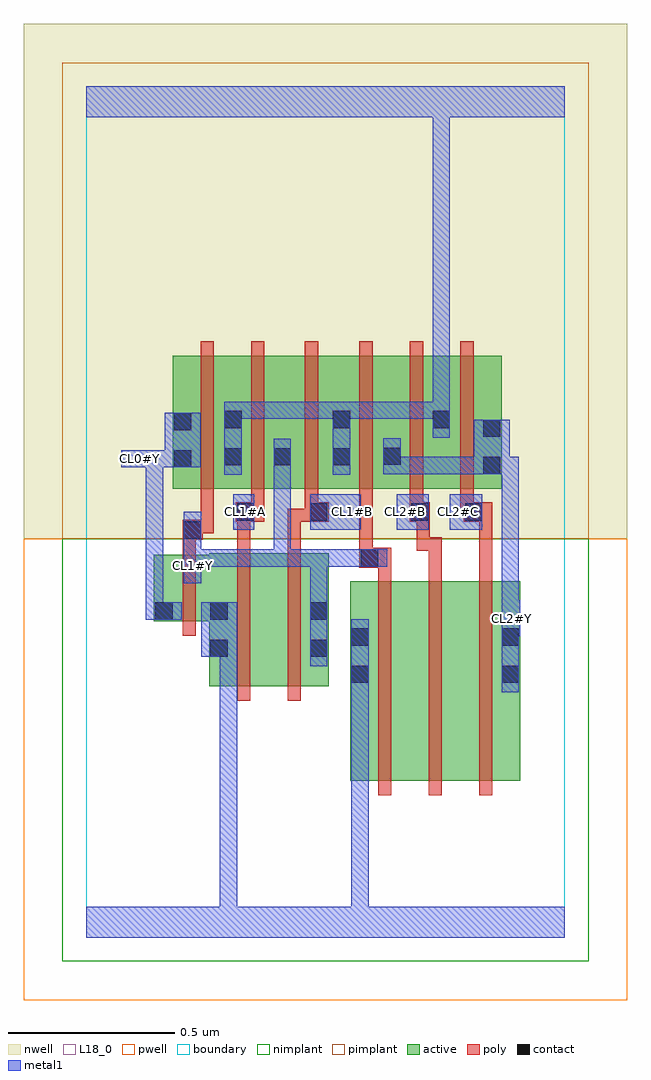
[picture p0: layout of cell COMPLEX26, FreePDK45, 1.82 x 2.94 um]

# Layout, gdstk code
import gdstk
lib = gdstk.Library(unit=1e-6, precision=1e-09)
def R(c, l, rs):  # rectangles x0, y0, x1, y1
    for r in rs: c.add(gdstk.rectangle(r[:2], r[2:], *l))
def A(c, l, x, y, w, h, nx, ny, dx, dy):  # array of equal rectangles
    R(c, l, [(x+i*dx, y+j*dy, x+i*dx+w, y+j*dy+h) for i in range(nx) for j in range(ny)])
active = (1, 0)
pwell = (2, 0)
nwell = (3, 0)
nimplant = (4, 0)
pimplant = (5, 0)
poly = (9, 0)
contact = (10, 0)
metal1 = (11, 0)
L18_0 = (18, 0)
boundary = (235, 0)

complex26 = lib.new_cell('COMPLEX26')
R(complex26, active, [(0.794,0.472,0.974,1.072), (0.974,0.472,1.126,1.072), (1.126,0.472,1.306,1.072), (0.794,0.556,0.854,1.072), (1.246,0.556,1.306,1.072), (0.37,0.756,0.55,1.156), (0.37,0.756,0.43,1.152), (0.55,0.756,0.73,1.156), (0.67,0.756,0.73,1.156), (0.204,0.952,0.43,1.152), (0.204,0.952,0.264,1.152), (0.26,1.35,0.32,1.644), (0.26,1.35,0.472,1.75), (0.412,1.35,0.472,1.644), (0.412,1.35,0.62,1.75), (0.56,1.35,0.62,1.644), (0.56,1.35,0.798,1.75), (0.738,1.35,0.95,1.75), (0.89,1.35,0.95,1.644), (0.89,1.35,1.098,1.75), (1.038,1.35,1.098,1.75), (1.038,1.35,1.25,1.75), (1.19,1.35,1.25,1.644), (0.738,1.416,0.798,1.644)])
R(complex26, pwell, [(-0.188,-0.188,1.628,1.2)])
R(complex26, nwell, [(-0.188,1.2,1.628,2.748)])
R(complex26, nimplant, [(-0.072,-0.072,1.512,1.2)])
R(complex26, pimplant, [(-0.072,1.2,1.512,2.632)])
A(complex26, poly, 0.878, 0.428, 0.04, 0.688, 3, 1, 0.152, 0)
A(complex26, poly, 0.822, 1.306, 0.04, 0.488, 3, 1, 0.152, 0)
R(complex26, poly, [(0.454,0.712,0.494,1.2), (0.606,0.712,0.646,1.2), (0.29,0.908,0.33,1.196), (0.878,1.076,0.918,1.152), (1.03,1.076,1.07,1.204), (1.182,1.076,1.222,1.29), (0.822,1.112,0.918,1.172), (0.822,1.132,0.862,1.172), (0.822,1.132,0.862,1.172), (0.822,1.132,0.862,1.346), (0.29,1.156,0.33,1.236), (0.454,1.16,0.494,1.29), (0.606,1.16,0.646,1.29), (0.994,1.164,1.034,1.29), (0.994,1.164,1.07,1.204), (0.29,1.196,0.35,1.256), (0.31,1.216,0.35,1.256), (0.31,1.216,0.384,1.256), (0.344,1.216,0.384,1.346), (0.45,1.25,0.536,1.31), (0.454,1.25,0.494,1.29), (0.454,1.25,0.494,1.29), (0.606,1.25,0.698,1.29), (0.658,1.25,0.698,1.29), (0.658,1.25,0.73,1.31), (0.974,1.25,1.034,1.31), (1.136,1.25,1.222,1.31), (0.496,1.27,0.536,1.346), (0.658,1.27,0.698,1.346), (0.974,1.27,1.014,1.346), (1.126,1.27,1.166,1.346), (1.126,1.27,1.176,1.31), (1.136,1.27,1.176,1.31), (0.344,1.306,0.384,1.794), (0.496,1.306,0.536,1.794), (0.658,1.306,0.698,1.794)])
R(complex26, contact, [(0.798,0.766,0.85,0.818), (1.25,0.766,1.302,0.818), (0.374,0.844,0.426,0.896), (0.674,0.844,0.726,0.896), (0.798,0.878,0.85,0.93), (1.25,0.878,1.302,0.93), (0.208,0.956,0.26,1.008), (0.374,0.956,0.426,1.008), (0.674,0.956,0.726,1.008), (0.826,1.116,0.878,1.168), (0.294,1.2,0.346,1.252), (0.454,1.254,0.506,1.306), (0.674,1.254,0.726,1.306), (0.978,1.254,1.03,1.306), (1.14,1.254,1.192,1.306), (1.194,1.394,1.246,1.446), (0.264,1.414,0.316,1.466), (0.416,1.42,0.468,1.472), (0.564,1.42,0.616,1.472), (0.742,1.42,0.794,1.472), (0.894,1.422,0.946,1.474), (1.194,1.506,1.246,1.558), (0.264,1.526,0.316,1.578), (0.416,1.532,0.468,1.584), (0.742,1.532,0.794,1.584), (1.042,1.532,1.094,1.584)])
A(complex26, metal1, 0.564, 1.56, 0.052, 0.052, 3, 1, 0.11, 0)
R(complex26, metal1, [(0,0,1.44,0.092), (0.402,0.04,0.454,0.092), (0.402,0.04,0.454,0.092), (0.402,0.04,0.454,0.092), (0.402,0.04,0.454,0.092), (0.402,0.04,0.454,0.092), (0.402,0.04,0.454,0.092), (0.402,0.04,0.454,0.092), (0.402,0.04,0.454,0.092), (0.402,0.04,0.454,0.896), (0.798,0.04,0.85,0.79), (0.798,0.738,0.85,0.79), (0.798,0.738,0.85,0.79), (0.798,0.738,0.85,0.79), (0.798,0.738,0.85,0.79), (0.798,0.738,0.85,0.79), (0.798,0.738,0.85,0.79), (0.798,0.738,0.85,0.79), (0.798,0.738,0.85,0.79), (0.798,0.738,0.85,0.958), (1.25,0.738,1.302,0.958), (0.674,0.816,0.726,1.036), (0.346,0.844,0.454,1.008), (0.402,0.844,0.454,0.896), (0.402,0.844,0.454,0.896), (0.402,0.844,0.454,0.896), (0.402,0.844,0.454,0.896), (1.25,0.906,1.302,0.958), (1.25,0.906,1.306,1.014), (0.18,0.956,0.288,1.008), (0.18,0.956,0.232,1.466), (1.25,0.962,1.302,1.446), (0.674,0.984,0.726,1.168), (0.294,1.066,0.346,1.224), (0.294,1.116,0.506,1.168), (0.454,1.116,0.506,1.168), (0.454,1.116,0.616,1.168), (0.564,1.116,0.616,1.168), (0.564,1.116,0.616,1.168), (0.564,1.116,0.616,1.168), (0.564,1.116,0.616,1.168), (0.564,1.116,0.616,1.168), (0.564,1.116,0.726,1.168), (0.564,1.116,0.616,1.444), (0.674,1.116,0.726,1.168), (0.674,1.116,0.726,1.168), (0.674,1.116,0.726,1.168), (0.674,1.116,0.85,1.168), (0.798,1.116,0.906,1.168), (0.294,1.172,0.346,1.224), (0.294,1.172,0.346,1.28), (0.442,1.226,0.506,1.334), (0.674,1.226,0.826,1.334), (0.934,1.226,1.03,1.334), (1.094,1.226,1.192,1.334), (0.416,1.392,0.468,1.612), (0.564,1.392,0.616,1.5), (0.742,1.392,0.794,1.612), (0.894,1.394,0.946,1.446), (0.894,1.394,0.946,1.446), (0.894,1.394,0.946,1.502), (0.894,1.394,1.108,1.446), (1.056,1.394,1.108,1.446), (1.056,1.394,1.218,1.446), (1.166,1.394,1.218,1.446), (1.166,1.394,1.218,1.446), (1.166,1.394,1.274,1.558), (1.222,1.394,1.274,1.446), (1.222,1.394,1.302,1.446), (0.106,1.414,0.236,1.466), (0.184,1.414,0.236,1.466), (0.184,1.414,0.288,1.466), (0.236,1.414,0.288,1.466), (0.236,1.414,0.344,1.578), (1.042,1.504,1.094,1.612), (0.416,1.56,0.468,1.612), (0.416,1.56,0.468,1.612), (0.416,1.56,0.616,1.612), (0.564,1.56,0.616,1.612), (0.564,1.56,0.616,1.612), (0.564,1.56,0.726,1.612), (0.674,1.56,0.794,1.612), (0.742,1.56,0.836,1.612), (0.784,1.56,0.984,1.612), (0.932,1.56,0.984,1.612), (0.932,1.56,0.984,1.612), (0.932,1.56,0.984,1.612), (0.932,1.56,1.094,1.612), (1.042,1.56,1.094,2.52), (0,2.468,1.44,2.56), (1.042,2.468,1.094,2.52), (1.042,2.468,1.094,2.52), (1.042,2.468,1.094,2.52), (1.042,2.468,1.094,2.52), (1.042,2.468,1.094,2.52), (1.042,2.468,1.094,2.52), (1.042,2.468,1.094,2.52), (1.042,2.468,1.094,2.52), (1.042,2.468,1.094,2.52), (1.042,2.468,1.094,2.52), (1.042,2.468,1.094,2.52), (1.042,2.468,1.094,2.52), (1.042,2.468,1.094,2.52), (1.042,2.468,1.094,2.52), (1.042,2.468,1.094,2.52), (1.042,2.468,1.094,2.52)])
A(complex26, L18_0, 0.774, 1.254, 0.052, 0.052, 3, 1, 0.16, 0)
A(complex26, L18_0, 0.564, 1.56, 0.052, 0.052, 3, 1, 0.11, 0)
R(complex26, L18_0, [(0,0,1.44,0.092), (0.402,0.04,0.454,0.092), (0.402,0.04,0.454,0.092), (0.402,0.04,0.454,0.092), (0.402,0.04,0.454,0.092), (0.402,0.04,0.454,0.092), (0.402,0.04,0.454,0.092), (0.402,0.04,0.454,0.092), (0.402,0.04,0.454,0.092), (0.402,0.04,0.454,0.896), (0.798,0.04,0.85,0.79), (0.798,0.738,0.85,0.79), (0.798,0.738,0.85,0.79), (0.798,0.738,0.85,0.79), (0.798,0.738,0.85,0.79), (0.798,0.738,0.85,0.79), (0.798,0.738,0.85,0.79), (0.798,0.738,0.85,0.79), (0.798,0.738,0.85,0.79), (0.798,0.738,0.85,0.958), (1.25,0.738,1.302,0.958), (0.674,0.816,0.726,1.036), (0.346,0.844,0.454,1.008), (0.402,0.844,0.454,0.896), (0.402,0.844,0.454,0.896), (0.402,0.844,0.454,0.896), (0.402,0.844,0.454,0.896), (1.25,0.906,1.302,0.958), (1.25,0.906,1.306,1.014), (1.254,0.934,1.306,0.986), (0.18,0.956,0.288,1.008), (0.18,0.956,0.232,1.466), (1.25,0.962,1.302,1.446), (0.674,0.984,0.726,1.168), (0.294,1.066,0.346,1.224), (0.294,1.094,0.346,1.146), (0.294,1.116,0.506,1.168), (0.454,1.116,0.506,1.168), (0.454,1.116,0.616,1.168), (0.564,1.116,0.616,1.168), (0.564,1.116,0.616,1.168), (0.564,1.116,0.616,1.168), (0.564,1.116,0.616,1.168), (0.564,1.116,0.616,1.168), (0.564,1.116,0.726,1.168), (0.564,1.116,0.616,1.444), (0.674,1.116,0.726,1.168), (0.674,1.116,0.726,1.168), (0.674,1.116,0.726,1.168), (0.674,1.116,0.85,1.168), (0.798,1.116,0.906,1.168), (0.294,1.172,0.346,1.224), (0.294,1.172,0.346,1.28), (0.442,1.226,0.506,1.334), (0.674,1.226,0.826,1.334), (0.934,1.226,1.03,1.334), (1.094,1.226,1.192,1.334), (0.454,1.254,0.506,1.306), (0.416,1.392,0.468,1.612), (0.564,1.392,0.616,1.5), (0.742,1.392,0.794,1.612), (0.894,1.394,0.946,1.446), (0.894,1.394,0.946,1.446), (0.894,1.394,0.946,1.502), (0.894,1.394,1.108,1.446), (1.056,1.394,1.108,1.446), (1.056,1.394,1.218,1.446), (1.166,1.394,1.218,1.446), (1.166,1.394,1.218,1.446), (1.166,1.394,1.274,1.558), (1.222,1.394,1.274,1.446), (1.222,1.394,1.302,1.446), (0.106,1.414,0.236,1.466), (0.134,1.414,0.186,1.466), (0.184,1.414,0.288,1.466), (0.184,1.414,0.236,1.466), (0.236,1.414,0.288,1.466), (0.236,1.414,0.344,1.578), (1.042,1.504,1.094,1.612), (0.416,1.56,0.468,1.612), (0.416,1.56,0.468,1.612), (0.416,1.56,0.616,1.612), (0.564,1.56,0.616,1.612), (0.564,1.56,0.616,1.612), (0.564,1.56,0.726,1.612), (0.674,1.56,0.794,1.612), (0.742,1.56,0.836,1.612), (0.784,1.56,0.984,1.612), (0.932,1.56,0.984,1.612), (0.932,1.56,0.984,1.612), (0.932,1.56,0.984,1.612), (0.932,1.56,1.094,1.612), (1.042,1.56,1.094,2.52), (0,2.468,1.44,2.56), (1.042,2.468,1.094,2.52), (1.042,2.468,1.094,2.52), (1.042,2.468,1.094,2.52), (1.042,2.468,1.094,2.52), (1.042,2.468,1.094,2.52), (1.042,2.468,1.094,2.52), (1.042,2.468,1.094,2.52), (1.042,2.468,1.094,2.52), (1.042,2.468,1.094,2.52), (1.042,2.468,1.094,2.52), (1.042,2.468,1.094,2.52), (1.042,2.468,1.094,2.52), (1.042,2.468,1.094,2.52), (1.042,2.468,1.094,2.52), (1.042,2.468,1.094,2.52), (1.042,2.468,1.094,2.52)])
R(complex26, boundary, [(0,0,1.44,2.56)])
complex26.add(gdstk.Label('CL0#Y', (0.16,1.44), layer=11, texttype=0))
complex26.add(gdstk.Label('CL1#A', (0.48,1.28), layer=11, texttype=0))
complex26.add(gdstk.Label('CL1#B', (0.8,1.28), layer=11, texttype=0))
complex26.add(gdstk.Label('CL1#Y', (0.32,1.12), layer=11, texttype=0))
complex26.add(gdstk.Label('CL2#B', (0.96,1.28), layer=11, texttype=0))
complex26.add(gdstk.Label('CL2#C', (1.12,1.28), layer=11, texttype=0))
complex26.add(gdstk.Label('CL2#Y', (1.28,0.96), layer=11, texttype=0))

lib.write_gds('COMPLEX26.gds')
